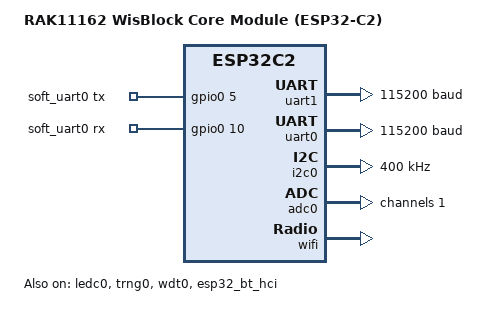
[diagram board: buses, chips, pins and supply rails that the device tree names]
/*
 * Copyright (c) 2026 RAKwireless Technology Limited
 * SPDX-License-Identifier: Apache-2.0
 */

/dts-v1/;
#include <rakwireless/rak11160_esp32c2.dtsi>
#include <espressif/partitions_0x0_default_2M.dtsi>
#include "rak11162_esp32c2-pinctrl.dtsi"

/ {
	model = "RAK11162 WisBlock Core Module (ESP32-C2)";
	compatible = "rakwireless,rak11162-esp32c2";

	chosen {
		zephyr,sram = &sram1;
		zephyr,flash = &flash0;
		zephyr,code-partition = &slot0_partition;
	};

	aliases {
		watchdog0 = &wdt0;
	};

	soft_uart0: uart-bitbang {
		compatible = "zephyr,uart-bitbang";
		current-speed = <9600>;
		data-bits = <8>;
		parity = "none";
		stop-bits = "1";

		tx-gpios = <&gpio0 5 GPIO_ACTIVE_HIGH>;
		rx-gpios = <&gpio0 10 GPIO_ACTIVE_HIGH>;

		tx-timer = <&timer0>;
		rx-timer = <&timer0>;

		tx-fifo-size = <64>;
		rx-fifo-size = <64>;
	};
};

/*
 * Common board-level label for
 * the on-module ESP32-C2 <-> STM32WLE5 coprocessor UART link.
 */
coproc_uart: &uart1 {
	status = "okay";
	current-speed = <115200>;
};

&uart0 {
	current-speed = <115200>;
	pinctrl-0 = <&uart0_default>;
	pinctrl-names = "default";
};

&i2c0 {
	clock-frequency = <I2C_BITRATE_FAST>;
	pinctrl-0 = <&i2c0_default>;
	pinctrl-names = "default";
	status = "okay";
};

&adc0 {
	status = "okay";
	#address-cells = <1>;
	#size-cells = <0>;

	channel@1 {
		reg = <1>;
		zephyr,gain = "ADC_GAIN_1_4";
		zephyr,reference = "ADC_REF_INTERNAL";
		zephyr,acquisition-time = <ADC_ACQ_TIME_DEFAULT>;
		zephyr,resolution = <12>;
	};
};

&ledc0 {
	status = "okay";
	pinctrl-0 = <&ledc0_default>;
	pinctrl-names = "default";
	#address-cells = <1>;
	#size-cells = <0>;

	channel@0 {
		reg = <0>;
		timer = <0>;
	};
};

&gpio0 {
	status = "okay";
};

&trng0 {
	status = "okay";
};

&wdt0 {
	status = "okay";
};

&wifi {
	status = "okay";
};

&esp32_bt_hci {
	status = "okay";
};

#include "rak11162_esp32c2_wisblock.dtsi"
